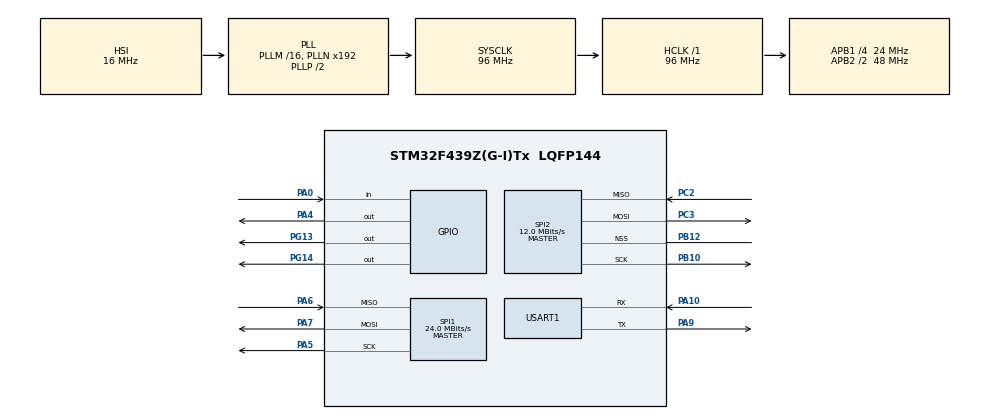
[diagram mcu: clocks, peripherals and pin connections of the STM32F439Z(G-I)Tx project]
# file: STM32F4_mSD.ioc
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Mcu.Family=STM32F4
Mcu.Name=STM32F439Z(G-I)Tx
Mcu.Package=LQFP144
NVIC.PriorityGroup=NVIC_PRIORITYGROUP_4
PA0/WKUP.Signal=GPIO_Input
PA10.Mode=Asynchronous
PA10.Signal=USART1_RX
PA4.GPIO_PuPd=GPIO_PULLUP
PA4.GPIO_Speed=GPIO_SPEED_HIGH
PA4.Signal=GPIO_Output
PA5.Mode=Full_Duplex_Master
PA5.Signal=SPI1_SCK
PA6.Mode=Full_Duplex_Master
PA6.Signal=SPI1_MISO
PA7.Mode=Full_Duplex_Master
PA7.Signal=SPI1_MOSI
PA9.Mode=Asynchronous
PA9.Signal=USART1_TX
PB10.Mode=Full_Duplex_Master
PB10.Signal=SPI2_SCK
PB12.Mode=NSS_Signal_Hard
PB12.Signal=SPI2_NSS
PC2.Mode=Full_Duplex_Master
PC2.Signal=SPI2_MISO
PC3.Mode=Full_Duplex_Master
PC3.Signal=SPI2_MOSI
PG13.Signal=GPIO_Output
PG14.Signal=GPIO_Output
PH0/OSC_IN.Mode=HSE-External-Oscillator
PH0/OSC_IN.Signal=RCC_OSC_IN
PH1/OSC_OUT.Mode=HSE-External-Oscillator
PH1/OSC_OUT.Signal=RCC_OSC_OUT
ProjectManager.TargetToolchain=MDK-ARM V5
RCC.48MHZClocksFreq_Value=48000000
RCC.AHBFreq_Value=96000000
RCC.APB1CLKDivider=RCC_HCLK_DIV4
RCC.APB1Freq_Value=24000000
RCC.APB1TimFreq_Value=48000000
RCC.APB2CLKDivider=RCC_HCLK_DIV2
RCC.APB2Freq_Value=48000000
RCC.APB2TimFreq_Value=96000000
RCC.CortexFreq_Value=96000000
RCC.HCLKFreq_Value=96000000
RCC.HSE_VALUE=8000000
RCC.HSI_VALUE=16000000
RCC.LSE_VALUE=32768
RCC.SYSCLKFreq_VALUE=96000000
RCC.SYSCLKSource=RCC_SYSCLKSOURCE_PLLCLK
RCC.VCOOutputFreq_Value=192000000
SPI1.CRCCalculation=SPI_CRCCALCULATION_DISABLED
SPI1.CalculateBaudRate=24.0 MBits/s
SPI1.Mode=SPI_MODE_MASTER
SPI2.BaudRatePrescaler=SPI_BAUDRATEPRESCALER_2
SPI2.CalculateBaudRate=12.0 MBits/s
SPI2.Mode=SPI_MODE_MASTER
SPI2.VirtualNSS=VM_NSSHARD
board=STM32F4_mSD

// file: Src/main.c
/**
  ******************************************************************************
  * File Name          : main.c
  * Description        : Main program body
  ******************************************************************************
  *
  * COPYRIGHT(c) 2015 STMicroelectronics
  *
  * Redistribution and use in source and binary forms, with or without modification,
  * are permitted provided that the following conditions are met:
  *   1. Redistributions of source code must retain the above copyright notice,
  *      this list of conditions and the following disclaimer.
  *   2. Redistributions in binary form must reproduce the above copyright notice,
  *      this list of conditions and the following disclaimer in the documentation
  *      and/or other materials provided with the distribution.
  *   3. Neither the name of STMicroelectronics nor the names of its contributors
  *      may be used to endorse or promote products derived from this software
  *      without specific prior written permission.
  *
  * THIS SOFTWARE IS PROVIDED BY THE COPYRIGHT HOLDERS AND CONTRIBUTORS "AS IS"
  * AND ANY EXPRESS OR IMPLIED WARRANTIES, INCLUDING, BUT NOT LIMITED TO, THE
  * IMPLIED WARRANTIES OF MERCHANTABILITY AND FITNESS FOR A PARTICULAR PURPOSE ARE
  * DISCLAIMED. IN NO EVENT SHALL THE COPYRIGHT HOLDER OR CONTRIBUTORS BE LIABLE
  * FOR ANY DIRECT, INDIRECT, INCIDENTAL, SPECIAL, EXEMPLARY, OR CONSEQUENTIAL
  * DAMAGES (INCLUDING, BUT NOT LIMITED TO, PROCUREMENT OF SUBSTITUTE GOODS OR
  * SERVICES; LOSS OF USE, DATA, OR PROFITS; OR BUSINESS INTERRUPTION) HOWEVER
  * CAUSED AND ON ANY THEORY OF LIABILITY, WHETHER IN CONTRACT, STRICT LIABILITY,
  * OR TORT (INCLUDING NEGLIGENCE OR OTHERWISE) ARISING IN ANY WAY OUT OF THE USE
  * OF THIS SOFTWARE, EVEN IF ADVISED OF THE POSSIBILITY OF SUCH DAMAGE.
  *
  ******************************************************************************
  */
#include "stm32f4xx_hal.h"

/* USER CODE BEGIN Includes */
#include "mmc_sd.h"
#include <stdio.h>
#include "MAX3421E.h"
/* USER CODE END Includes */

SPI_HandleTypeDef hspi1;
SPI_HandleTypeDef hspi2;

UART_HandleTypeDef huart1;

/* USER CODE BEGIN PV */
/* Private variables ---------------------------------------------------------*/
typedef enum {FAILED = 0, PASSED = !FAILED} TestStatus;
#define BLOCK_SIZE            511 /* Can not be used 512 Block */

uint8_t Buffer_Block_Tx[BLOCK_SIZE]={1};
uint8_t Buffer_Block_Rx[BLOCK_SIZE];

void SD_SingleBlockTest(void);
void MX_SPI1_Init(void);
void MX_SPI2_Init(void);

/* USER CODE END PV */

void SystemClock_Config(void);
static void MX_GPIO_Init(void);
static void MX_USART1_UART_Init(void);

/* USER CODE BEGIN PFP */
/* Private function prototypes -----------------------------------------------*/

/* USER CODE END PFP */

int main(void)
{

  /* USER CODE BEGIN 1 */
  uint8_t tmp;
  /* USER CODE END 1 */

  /* MCU Configuration----------------------------------------------------------*/

  /* Reset of all peripherals, Initializes the Flash interface and the Systick. */
  HAL_Init();

  /* Configure the system clock */
  SystemClock_Config();

  /* Initialize all configured peripherals */
  MX_GPIO_Init();
  MX_SPI1_Init();
  MX_SPI2_Init();
  MX_USART1_UART_Init();

  /* USER CODE BEGIN 2 */
  // LED off
  HAL_GPIO_WritePin(GPIOG, GPIO_PIN_13, GPIO_PIN_RESET);  // Green LED
  // HAL_GPIO_WritePin(GPIOG, GPIO_PIN_14, GPIO_PIN_RESET);  // Red LED

  HAL_GPIO_WritePin(GPIOG, GPIO_PIN_14, GPIO_PIN_SET);  //
  HAL_Delay(10);

  HAL_GPIO_WritePin(GPIOG, GPIO_PIN_14, GPIO_PIN_RESET);  // Low
  HAL_Delay(10);
  HAL_GPIO_WritePin(GPIOG, GPIO_PIN_14, GPIO_PIN_SET);  // High

  printf("\r\nSTM32F4 USB Host - 2015.11.24");

  // SD Init

  // SD_Init();
  // SD_SingleBlockTest();

  // MAX3421 init
  MAX_Init();
  printf("\r\nMAX3421 init complete");
  /* USER CODE END 2 */

  /* Infinite loop */
  while (1)
  {

  /* USER CODE BEGIN 3 */
    MAX_Process();

    HAL_Delay(100); // 100 msec

    // User Button
  if (HAL_GPIO_ReadPin(GPIOA, GPIO_PIN_0) == GPIO_PIN_SET) {
      HAL_GPIO_WritePin(GPIOG, GPIO_PIN_13, GPIO_PIN_SET);  // Green LED on

   tmp = Hrreg(rIOPINS1);
   printf("\r\n - read IOPINS1 = %02x", tmp);
   tmp = Hrreg(rIOPINS2);
   printf("\r\n - read IOPINS2 = %02x", tmp);

  }else {
      HAL_GPIO_WritePin(GPIOG, GPIO_PIN_13, GPIO_PIN_RESET);  // Green LED off
  }

  }
  /* USER CODE END 3 */

}

/** System Clock Configuration
*/
void SystemClock_Config(void)
{

  RCC_OscInitTypeDef RCC_OscInitStruct;
  RCC_ClkInitTypeDef RCC_ClkInitStruct;

  __PWR_CLK_ENABLE();

  __HAL_PWR_VOLTAGESCALING_CONFIG(PWR_REGULATOR_VOLTAGE_SCALE3);

  RCC_OscInitStruct.OscillatorType = RCC_OSCILLATORTYPE_HSI;
  RCC_OscInitStruct.HSIState = RCC_HSI_ON;
  RCC_OscInitStruct.HSICalibrationValue = 16;
  RCC_OscInitStruct.PLL.PLLState = RCC_PLL_ON;
  RCC_OscInitStruct.PLL.PLLSource = RCC_PLLSOURCE_HSI;
  RCC_OscInitStruct.PLL.PLLM = 16;
  RCC_OscInitStruct.PLL.PLLN = 192;
  RCC_OscInitStruct.PLL.PLLP = RCC_PLLP_DIV2;
  RCC_OscInitStruct.PLL.PLLQ = 4;
  HAL_RCC_OscConfig(&RCC_OscInitStruct);

  RCC_ClkInitStruct.ClockType = RCC_CLOCKTYPE_SYSCLK|RCC_CLOCKTYPE_PCLK1
                              |RCC_CLOCKTYPE_PCLK2;
  RCC_ClkInitStruct.SYSCLKSource = RCC_SYSCLKSOURCE_PLLCLK;
  RCC_ClkInitStruct.AHBCLKDivider = RCC_SYSCLK_DIV1;
  RCC_ClkInitStruct.APB1CLKDivider = RCC_HCLK_DIV4;
  RCC_ClkInitStruct.APB2CLKDivider = RCC_HCLK_DIV2;
  HAL_RCC_ClockConfig(&RCC_ClkInitStruct, FLASH_LATENCY_3);

  HAL_SYSTICK_Config(HAL_RCC_GetHCLKFreq()/1000);

  HAL_SYSTICK_CLKSourceConfig(SYSTICK_CLKSOURCE_HCLK);

  /* SysTick_IRQn interrupt configuration */
  HAL_NVIC_SetPriority(SysTick_IRQn, 0, 0);
}

/* SPI1 init function */
void MX_SPI1_Init(void)
{

  hspi1.Instance = SPI1;
  hspi1.Init.Mode = SPI_MODE_MASTER;
  hspi1.Init.Direction = SPI_DIRECTION_2LINES;
  hspi1.Init.DataSize = SPI_DATASIZE_8BIT;

#if 0
  // hspi1.Init.CLKPolarity = SPI_POLARITY_LOW;
  // hspi1.Init.CLKPhase = SPI_PHASE_1EDGE;
  // hspi1.Init.NSS = SPI_NSS_SOFT;
#else
  hspi1.Init.CLKPolarity = SPI_POLARITY_HIGH;
  hspi1.Init.CLKPhase = SPI_PHASE_2EDGE;
  hspi1.Init.NSS = SPI_NSS_HARD_OUTPUT;
#endif

  // hspi1.Init.BaudRatePrescaler = SPI_BAUDRATEPRESCALER_2;
  // for test
  hspi1.Init.BaudRatePrescaler = SPI_BAUDRATEPRESCALER_16;
  hspi1.Init.FirstBit = SPI_FIRSTBIT_MSB;
  hspi1.Init.TIMode = SPI_TIMODE_DISABLED;
  hspi1.Init.CRCCalculation = SPI_CRCCALCULATION_DISABLED;
  hspi1.Init.CRCPolynomial = 10;
  HAL_SPI_Init(&hspi1);

}

/* SPI2 init function */
void MX_SPI2_Init(void)
{

  hspi2.Instance = SPI2;
  hspi2.Init.Mode = SPI_MODE_MASTER;
  hspi2.Init.Direction = SPI_DIRECTION_2LINES;
  hspi2.Init.DataSize = SPI_DATASIZE_8BIT;

  hspi2.Init.CLKPolarity = SPI_POLARITY_LOW;
  hspi2.Init.CLKPhase = SPI_PHASE_1EDGE;
  hspi2.Init.NSS = SPI_NSS_HARD_OUTPUT;
  // hspi2.Init.NSS = SPI_NSS_SOFT;
  // hspi2.Init.BaudRatePrescaler = SPI_BAUDRATEPRESCALER_2;
  hspi2.Init.BaudRatePrescaler = SPI_BAUDRATEPRESCALER_16;

  hspi2.Init.FirstBit = SPI_FIRSTBIT_MSB;
  hspi2.Init.TIMode = SPI_TIMODE_DISABLED;
  hspi2.Init.CRCCalculation = SPI_CRCCALCULATION_DISABLED;
  hspi2.Init.CRCPolynomial = 10;
  HAL_SPI_Init(&hspi2);

}

/* USART1 init function */
void MX_USART1_UART_Init(void)
{

  huart1.Instance = USART1;
  huart1.Init.BaudRate = 115200;
  huart1.Init.WordLength = UART_WORDLENGTH_8B;
  huart1.Init.StopBits = UART_STOPBITS_1;
  huart1.Init.Parity = UART_PARITY_NONE;
  huart1.Init.Mode = UART_MODE_TX_RX;
  huart1.Init.HwFlowCtl = UART_HWCONTROL_NONE;
  huart1.Init.OverSampling = UART_OVERSAMPLING_16;
  HAL_UART_Init(&huart1);

}

/** Configure pins as
        * Analog
        * Input
        * Output
        * EVENT_OUT
        * EXTI
*/
void MX_GPIO_Init(void)
{

  GPIO_InitTypeDef GPIO_InitStruct;

  /* GPIO Ports Clock Enable */
  __GPIOH_CLK_ENABLE();
  __GPIOC_CLK_ENABLE();
  __GPIOA_CLK_ENABLE();
  __GPIOB_CLK_ENABLE();
  __GPIOG_CLK_ENABLE();

  /*Configure GPIO pin : PA0 */
  GPIO_InitStruct.Pin = GPIO_PIN_0;
  GPIO_InitStruct.Mode = GPIO_MODE_INPUT;
  GPIO_InitStruct.Pull = GPIO_NOPULL;
  HAL_GPIO_Init(GPIOA, &GPIO_InitStruct);

  // CS for SD
  /*Configure GPIO pin : PA4 */
  GPIO_InitStruct.Pin = GPIO_PIN_4;
  GPIO_InitStruct.Mode = GPIO_MODE_OUTPUT_PP;
  GPIO_InitStruct.Pull = GPIO_PULLUP;
  GPIO_InitStruct.Speed = GPIO_SPEED_HIGH;
  HAL_GPIO_Init(GPIOA, &GPIO_InitStruct);

  /*Configure GPIO pins : PG13 PG14 */
  GPIO_InitStruct.Pin = GPIO_PIN_13|GPIO_PIN_14;
  GPIO_InitStruct.Mode = GPIO_MODE_OUTPUT_PP;
  GPIO_InitStruct.Pull = GPIO_NOPULL;
  GPIO_InitStruct.Speed = GPIO_SPEED_LOW;
  HAL_GPIO_Init(GPIOG, &GPIO_InitStruct);

  // CS for MAX3421 PB12
  GPIO_InitStruct.Pin = GPIO_PIN_12;
  GPIO_InitStruct.Mode = GPIO_MODE_OUTPUT_PP;
  GPIO_InitStruct.Pull = GPIO_PULLUP;
  GPIO_InitStruct.Speed = GPIO_SPEED_HIGH;
  HAL_GPIO_Init(GPIOB, &GPIO_InitStruct);

}

/* USER CODE BEGIN 4 */
int fputc(int ch, FILE *f)
{
  // Write a character to the USART
  USART1->DR = (uint16_t)(ch & 0x01FF);

  while(__HAL_UART_GET_FLAG(&huart1, UART_FLAG_TXE) == 0)
  {

  }

   return ch;
}

TestStatus Buffercmp(uint8_t* pBuffer1, uint8_t* pBuffer2, uint32_t BufferLength)
{
  while (BufferLength--)
  {
    if (*pBuffer1 != *pBuffer2)
    {
      return FAILED;
    }

    pBuffer1++;
    pBuffer2++;
  }

  return PASSED;
}

/**
  * @brief  Tests the SD card Single Blocks operations.
  * @param  None
  * @retval None
  */
void SD_SingleBlockTest(void)
{
  uint32_t i;

  printf("\r\nWrite buffer");
  for (i = 0; i < BLOCK_SIZE; i++) {
    Buffer_Block_Tx[i] = i;
  }

  /* Write block of 512 bytes on address 0 */
  SD_WriteSingleBlock (0x00, Buffer_Block_Tx);

  /* Read block of 512 bytes on address 0 */
  SD_ReadSingleBlock (0x00, Buffer_Block_Rx);

  printf("\r\nRead buffer");
//  for (i = 0; i < BLOCK_SIZE; i++) {
  for (i = 0; i < 10; i++) {
    printf("\r\n[%d] = %02x",i,Buffer_Block_Tx[i]);
  }

  #if 0
  /* Check the correctness of written data */
  TransferStatus1 = Buffercmp(Buffer_Block_Tx, Buffer_Block_Rx, BLOCK_SIZE);

  if(TransferStatus1 == PASSED)
  {
    printf("\r\nSuccess");
  }
  else
  {
    printf("\r\nFail");
  }
  #endif
}

/* USER CODE END 4 */

/************************ (C) COPYRIGHT STMicroelectronics *****END OF FILE****/
